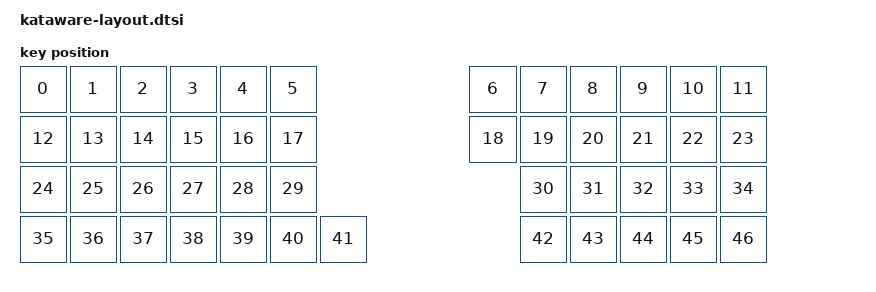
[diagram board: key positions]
/*
 * 物理レイアウト(キーの見た目上の位置)
 * ZMK Studio などでキー配置を表示するときに使われます。
 * 単位は 1キー = 100 (= 19.05mm)。オーソリニア。
 *   左手: 5列 x 4段 + T・G の内側に2キー + 4段目の内側に2キー (24キー) + エンコーダー押し込み
 *   右手: 5列 x 4段 + Y・H の内側に2キー (22キー) + トラックボール
 */

#include <physical_layouts.dtsi>

/ {
    kataware_layout: kataware_layout {
        compatible = "zmk,physical-layout";
        display-name = "Default";

        keys  //                     w   h    x    y  rot  rx  ry
            = <&key_physical_attrs 100 100    0    0    0   0   0>
            , <&key_physical_attrs 100 100  100    0    0   0   0>
            , <&key_physical_attrs 100 100  200    0    0   0   0>
            , <&key_physical_attrs 100 100  300    0    0   0   0>
            , <&key_physical_attrs 100 100  400    0    0   0   0>
            , <&key_physical_attrs 100 100  500    0    0   0   0>
            , <&key_physical_attrs 100 100  900    0    0   0   0>
            , <&key_physical_attrs 100 100 1000    0    0   0   0>
            , <&key_physical_attrs 100 100 1100    0    0   0   0>
            , <&key_physical_attrs 100 100 1200    0    0   0   0>
            , <&key_physical_attrs 100 100 1300    0    0   0   0>
            , <&key_physical_attrs 100 100 1400    0    0   0   0>
            , <&key_physical_attrs 100 100    0  100    0   0   0>
            , <&key_physical_attrs 100 100  100  100    0   0   0>
            , <&key_physical_attrs 100 100  200  100    0   0   0>
            , <&key_physical_attrs 100 100  300  100    0   0   0>
            , <&key_physical_attrs 100 100  400  100    0   0   0>
            , <&key_physical_attrs 100 100  500  100    0   0   0>
            , <&key_physical_attrs 100 100  900  100    0   0   0>
            , <&key_physical_attrs 100 100 1000  100    0   0   0>
            , <&key_physical_attrs 100 100 1100  100    0   0   0>
            , <&key_physical_attrs 100 100 1200  100    0   0   0>
            , <&key_physical_attrs 100 100 1300  100    0   0   0>
            , <&key_physical_attrs 100 100 1400  100    0   0   0>
            , <&key_physical_attrs 100 100    0  200    0   0   0>
            , <&key_physical_attrs 100 100  100  200    0   0   0>
            , <&key_physical_attrs 100 100  200  200    0   0   0>
            , <&key_physical_attrs 100 100  300  200    0   0   0>
            , <&key_physical_attrs 100 100  400  200    0   0   0>
            , <&key_physical_attrs 100 100  500  200    0   0   0>
            , <&key_physical_attrs 100 100 1000  200    0   0   0>
            , <&key_physical_attrs 100 100 1100  200    0   0   0>
            , <&key_physical_attrs 100 100 1200  200    0   0   0>
            , <&key_physical_attrs 100 100 1300  200    0   0   0>
            , <&key_physical_attrs 100 100 1400  200    0   0   0>
            , <&key_physical_attrs 100 100    0  300    0   0   0>
            , <&key_physical_attrs 100 100  100  300    0   0   0>
            , <&key_physical_attrs 100 100  200  300    0   0   0>
            , <&key_physical_attrs 100 100  300  300    0   0   0>
            , <&key_physical_attrs 100 100  400  300    0   0   0>
            , <&key_physical_attrs 100 100  500  300    0   0   0>
            , <&key_physical_attrs 100 100  600  300    0   0   0>
            , <&key_physical_attrs 100 100 1000  300    0   0   0>
            , <&key_physical_attrs 100 100 1100  300    0   0   0>
            , <&key_physical_attrs 100 100 1200  300    0   0   0>
            , <&key_physical_attrs 100 100 1300  300    0   0   0>
            , <&key_physical_attrs 100 100 1400  300    0   0   0>
            ;
    };
};
